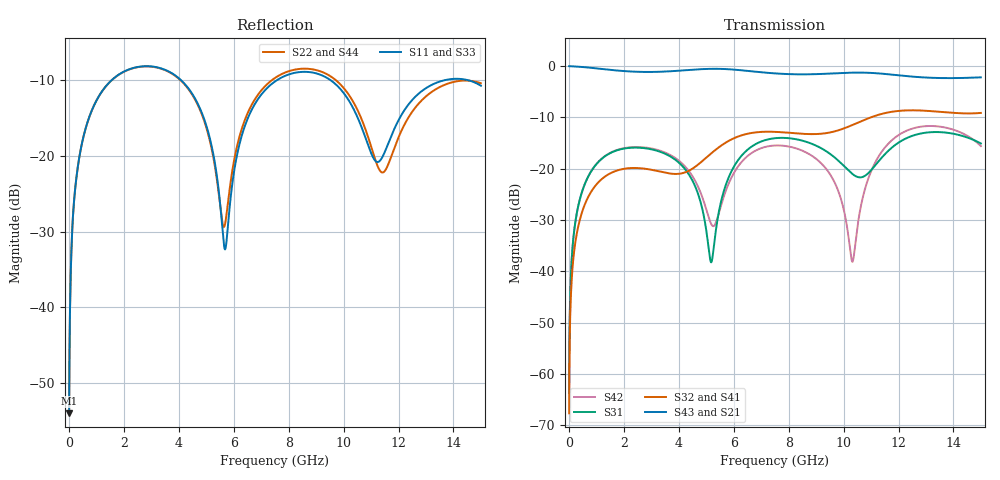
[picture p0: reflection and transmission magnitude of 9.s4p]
! Created with skrf 1.8.0 (http://scikit-rf.org).
# GHz S RI R 50.0
!freq ReS11 ImS11 ReS12 ImS12 ReS13 ImS13
! ReS14 ImS14
! ReS21 ImS21 ReS22 ImS22 ReS23 ImS23
! ReS24 ImS24
! ReS31 ImS31 ReS32 ImS32 ReS33 ImS33
! ReS34 ImS34
! ReS41 ImS41 ReS42 ImS42 ReS43 ImS43
! ReS44 ImS44
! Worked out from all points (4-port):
!   2499 points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, 5 MHz to 15 GHz, reference 50 ohm
!   strongest paths, dB at 5 MHz, 3.476 GHz, 7.19 GHz, 11.1 GHz, 15 GHz:
!     S43: 0.0, -1.1, -1.3, -1.4, -2.2
!     S21: 0.0, -1.1, -1.3, -1.4, -2.2
!     S32: -67.7, -20.8, -12.8, -9.8, -9.1
!     S41: -67.7, -20.8, -12.8, -9.8, -9.2
!     S31: -63.7, -17.0, -14.4, -19.7, -15.1
!     S42: -63.7, -16.8, -15.7, -19.4, -15.6
!   lowest |S11| = -54.0 dB at 5 MHz (marker M1), VSWR 1.00, Z = 50.2 + j0.121 ohm
!   |S11| at or under -10 dB: start of sweep to 1.549 GHz; 4.086 GHz to 7.566 GHz (3.48 GHz wide, 59.7 % of centre); 9.532 GHz to 13.66 GHz (4.132 GHz wide, 35.6 % of centre) (the widest 3 of 4)
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0.005  0.00159 0.0012  0.9984 -0.00309  8.02e-05 0.000651  -7.78e-05 -0.000405
       0.9984 -0.00309  0.00159 0.0012  -7.78e-05 -0.000405  8.03e-05 0.000651
       8.02e-05 0.000651  -7.78e-05 -0.000405  0.00159 0.0012  0.9984 -0.00309
       -7.78e-05 -0.000405  8.03e-05 0.000651  0.9984 -0.00309  0.00159 0.0012
0.3126303  0.0228 0.0793  0.969 -0.1923  0.0106 0.0388  -0.00887 -0.0239
           0.969 -0.1923  0.0227 0.0793  -0.00888 -0.0239  0.0108 0.0388
           0.0106 0.0388  -0.00888 -0.0239  0.0228 0.0793  0.969 -0.1923
           -0.00887 -0.0239  0.0108 0.0388  0.969 -0.1923  0.0227 0.0793
1.519383  0.2535 0.1828  0.5846 -0.7077  0.124 0.0704  -0.0896 -0.0121
          0.5846 -0.7077  0.2525 0.1834  -0.0897 -0.012  0.127 0.0667
          0.124 0.0704  -0.0897 -0.012  0.2534 0.1828  0.5846 -0.7077
          -0.0896 -0.0121  0.127 0.0667  0.5846 -0.7077  0.2525 0.1833
5.502293  0.0263 -0.041  -0.9275 -0.1503  0.0179 0.0395  -0.0247 0.163
          -0.9275 -0.1503  0.0353 -0.0318  -0.0215 0.1635  -0.0254 0.0315
          0.0179 0.0395  -0.0215 0.1635  0.0276 -0.0395  -0.9276 -0.1502
          -0.0247 0.163  -0.0254 0.0315  -0.9276 -0.1502  0.0333 -0.0306
8.847436  0.3547 -0.035  0.0321 0.832  0.1225 -0.1245  0.2067 -0.0618
          0.0321 0.832  0.3702 -0.0552  0.2061 -0.0685  0.1217 -0.0547
          0.1225 -0.1245  0.2061 -0.0685  0.3534 -0.0341  0.0308 0.8323
          0.2067 -0.0618  0.1217 -0.0547  0.0308 0.8323  0.3706 -0.0542
10.32305  0.1664 -0.13  0.6368 0.5822  -0.0636 -0.0619  0.1789 -0.1977
          0.6368 0.5822  0.1683 -0.1605  0.1715 -0.2041  -0.0114 -0.00488
          -0.0636 -0.0619  0.1715 -0.2041  0.1673 -0.1273  0.636 0.5837
          0.1789 -0.1977  -0.0114 -0.00488  0.636 0.5837  0.1665 -0.1597
15  0.2698 -0.1092  -0.1302 -0.7651  0.093 -0.1495  -0.3308 0.105
    -0.1302 -0.7651  0.2901 -0.0844  -0.3271 0.1232  0.123 -0.1116
    0.093 -0.1495  -0.3271 0.1232  0.267 -0.1041  -0.1246 -0.7668
    -0.3308 0.105  0.123 -0.1116  -0.1246 -0.7668  0.2917 -0.0837
